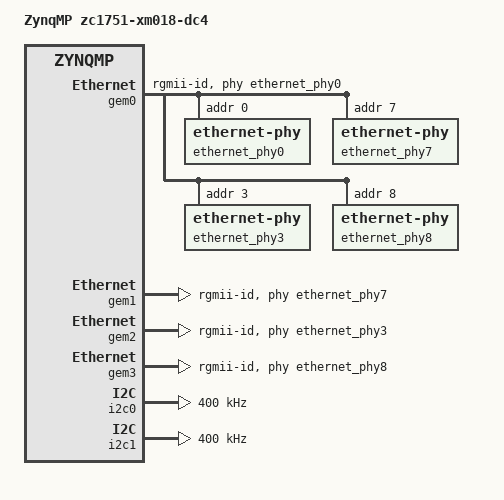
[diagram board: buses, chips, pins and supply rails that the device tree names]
// SPDX-License-Identifier: GPL-2.0+
/*
 * dts file for Xilinx ZynqMP zc1751-xm018-dc4
 *
 * (C) Copyright 2015-2022 Xilinx, Inc.
 * (C) Copyright 2022 Advanced Micro Devices, Inc. All Rights Reserved.
 *
 * Michal Simek <michal.simek@xilinx.com>
 */

/ {
	model = "ZynqMP zc1751-xm018-dc4";
	compatible = "xlnx,zynqmp-zc1751", "xlnx,zynqmp";

	aliases {
		ethernet0 = &gem0;
		ethernet1 = &gem1;
		ethernet2 = &gem2;
		ethernet3 = &gem3;
		i2c0 = &i2c0;
		i2c1 = &i2c1;
		rtc0 = &rtc;
		serial0 = &uart0;
		serial1 = &uart1;
	};

};

&gem0 {
	status = "okay";
	phy-mode = "rgmii-id";
	phy-handle = <&ethernet_phy0>;
	ethernet_phy0: ethernet-phy@0 { /* Marvell 88e1512 */
		reg = <0>;
	};
	ethernet_phy7: ethernet-phy@7 { /* Vitesse VSC8211 */
		reg = <7>;
	};
	ethernet_phy3: ethernet-phy@3 { /* Realtek RTL8211DN */
		reg = <3>;
	};
	ethernet_phy8: ethernet-phy@8 { /* Vitesse VSC8211 */
		reg = <8>;
	};
};

&gem1 {
	status = "okay";
	phy-mode = "rgmii-id";
	phy-handle = <&ethernet_phy7>;
};

&gem2 {
	status = "okay";
	phy-mode = "rgmii-id";
	phy-handle = <&ethernet_phy3>;
};

&gem3 {
	status = "okay";
	phy-mode = "rgmii-id";
	phy-handle = <&ethernet_phy8>;
};

&i2c0 {
	clock-frequency = <400000>;
	status = "okay";
};

&i2c1 {
	clock-frequency = <400000>;
	status = "okay";
};
